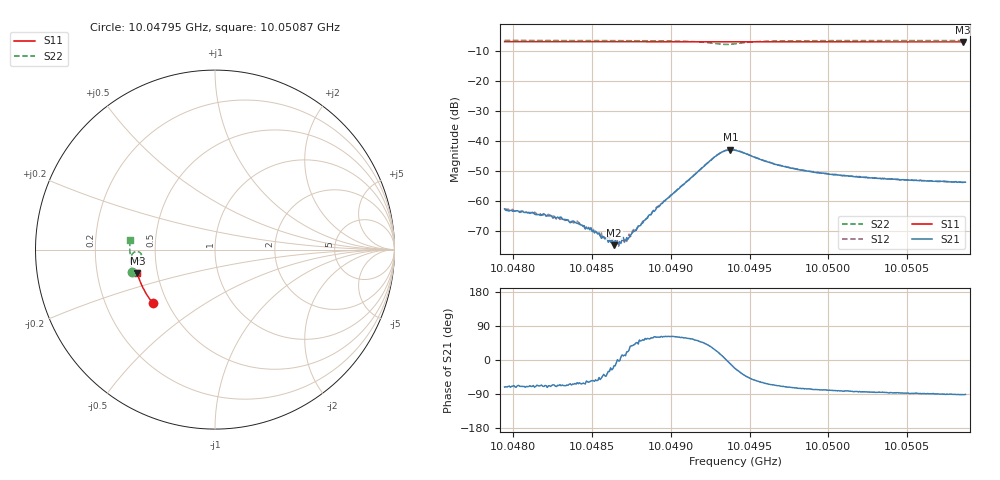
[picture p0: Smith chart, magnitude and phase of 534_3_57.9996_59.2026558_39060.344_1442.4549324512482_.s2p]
#  HZ  S  RI  R  50.00
! Rohde & Schwarz Vector Network Analyzer
! Rohde-Schwarz,ZNB20-2Port,1311601062101988,3.16
! Created: UTC 3/21/2024, 1:14:14 AM
! freq[Hz]  re:S11  im:S11  re:S21  im:S21  re:S12  im:S12  re:S22  im:S22
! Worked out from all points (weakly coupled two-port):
!   401 points, 10.04795 GHz to 10.05087 GHz, reference 50 ohm
!   highest |S21| = -42.98 dB at 10.04938 GHz (marker M1); lowest = -74.9 dB at 10.04864 GHz (marker M2)
!   lowest |S11| = -6.9 dB at 10.05085 GHz (marker M3), VSWR 2.65, Z = 19.2 - j6.36 ohm
!   |S11| at or under -10 dB: nowhere
!   |S22| runs from -7.7 to -6.4 dB; largest |S21 - S12| = 0.00051
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1.0047948e10  -0.3455 -0.2995  0.000233 -0.00069  0.000291 -0.000654  -0.4621 -0.122
1.004824e10  -0.3575 -0.2843  0.000196 -0.000533  0.000227 -0.000516  -0.4663 -0.1018
1.0048408e10  -0.3639 -0.2754  0.000211 -0.000362  0.000242 -0.000386  -0.4681 -0.0896
1.0048437e10  -0.3651 -0.2738  0.000178 -0.00035  0.000179 -0.000357  -0.4685 -0.0874
1.0048481e10  -0.3667 -0.2713  0.000181 -0.000295  0.000208 -0.000288  -0.4689 -0.0842
1.0048583e10  -0.3706 -0.2657  0.000173 -0.000153  0.000198 -0.000121  -0.4696 -0.0763
1.0048605e10  -0.3714 -0.2647  0.000175 -0.000101  0.000225 -0.000112  -0.4698 -0.0746
1.0048641e10  -0.3727 -0.2625  0.000174 -4.6e-05  0.000172 -3.93e-05  -0.47 -0.0717
1.0048656e10  -0.3731 -0.2619  0.000208 -2.71e-05  0.000195 -1.62e-05  -0.47 -0.0705
1.0048671e10  -0.3737 -0.261  0.000186 -8.67e-06  0.00017 3.54e-05  -0.47 -0.0691
1.0048707e10  -0.375 -0.2591  0.000211 4.94e-05  0.000182 8.46e-05  -0.4701 -0.0661
1.0048729e10  -0.3757 -0.2578  0.000209 8.53e-05  0.000217 0.000106  -0.4703 -0.0642
1.0048926e10  -0.3827 -0.2467  0.000397 0.000689  0.000341 0.000758  -0.469 -0.0461
1.0049284e10  -0.3939 -0.2261  0.00494 0.00244  0.00481 0.00278  -0.4243 -0.0124
1.0049335e10  -0.3953 -0.2232  0.0066 0.000871  0.00661 0.00128  -0.4103 -0.0267
1.0049379e10  -0.3966 -0.2209  0.00697 -0.00131  0.00709 -0.000878  -0.4101 -0.0453
1.0049408e10  -0.3974 -0.2195  0.00647 -0.00266  0.00667 -0.00219  -0.4168 -0.0554
1.0049671e10  -0.4056 -0.2041  0.00153 -0.0037  0.00178 -0.00363  -0.4664 -0.0421
1.0049897e10  -0.4117 -0.1906  0.000658 -0.00296  0.000825 -0.00294  -0.4736 -0.0188
1.0050386e10  -0.4235 -0.1608  0.000131 -0.00229  0.000297 -0.00231  -0.4755 0.0202
1.0050853e10  -0.4326 -0.1315  -6.27e-05 -0.00203  8.54e-05 -0.00203  -0.4729 0.0531
1.0050868e10  -0.433 -0.1308  -2.77e-05 -0.00204  5.2e-05 -0.00204  -0.4729 0.0541
